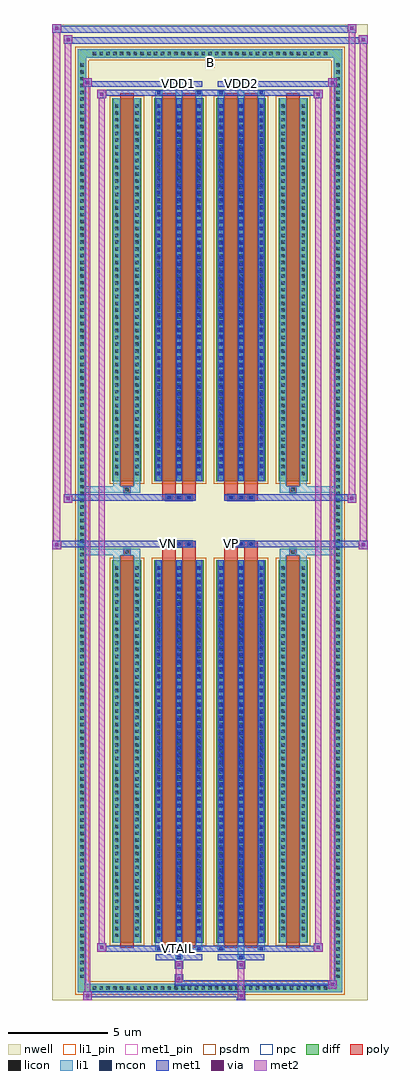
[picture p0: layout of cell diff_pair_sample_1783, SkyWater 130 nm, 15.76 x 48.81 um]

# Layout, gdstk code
import gdstk
lib = gdstk.Library(unit=1e-6, precision=5e-09)
def R(c, l, rs):  # rectangles x0, y0, x1, y1
    for r in rs: c.add(gdstk.rectangle(r[:2], r[2:], *l))
def A(c, l, x, y, w, h, nx, ny, dx, dy):  # array of equal rectangles
    R(c, l, [(x+i*dx, y+j*dy, x+i*dx+w, y+j*dy+h) for i in range(nx) for j in range(ny)])
def P(c, l, *ps):  # polygons
    for p in ps: c.add(gdstk.Polygon(p, *l))
nwell = (64, 20)
diff = (65, 20)
poly = (66, 20)
licon = (66, 44)
li1_pin = (67, 16)
li1 = (67, 20)
mcon = (67, 44)
met1_pin = (68, 16)
met1 = (68, 20)
via = (68, 44)
met2 = (69, 20)
psdm = (94, 20)
npc = (95, 20)

diff_pair_sample_1783 = lib.new_cell('diff_pair_sample_1783')
R(diff_pair_sample_1783, nwell, [(-7.88,-23.97,7.88,24.84), (-5.2,-22.16,-0.01,-0.8), (0.01,-22.16,5.2,-0.8), (-5.2,0.8,-0.01,22.16), (0.01,0.8,5.2,22.16)])
A(diff_pair_sample_1783, diff, -5.985, -23.57, 0.41, 0.41, 35, 2, 0.34, 46.73)
A(diff_pair_sample_1783, diff, -6.61, -22.985, 0.41, 0.41, 1, 135, 0, 0.34)
A(diff_pair_sample_1783, diff, 6.2, -22.985, 0.41, 0.41, 1, 135, 0, 0.34)
R(diff_pair_sample_1783, diff, [(-5.985,-23.57,5.985,-23.16), (-6.61,-22.985,-6.2,22.985), (6.2,-22.985,6.61,22.985), (-4.89,-21.115,-3.43,-1.985), (-2.79,-21.115,-0.32,-1.985), (0.32,-21.115,2.79,-1.985), (3.43,-21.115,4.89,-1.985), (-4.89,1.985,-3.43,21.115), (-2.79,1.985,-0.32,21.115), (0.32,1.985,2.79,21.115), (3.43,1.985,4.89,21.115), (-5.985,23.16,5.985,23.57)])
P(diff_pair_sample_1783, diff, [(6.61,23.57),(-6.61,23.57),(-6.61,-23.16),(-6.2,-23.16),(-6.2,23.16),(6.2,23.16),(6.2,-23.16),(-6.2,-23.16),(-6.61,-23.16),(-6.61,-23.57),(6.61,-23.57)])
A(diff_pair_sample_1783, poly, -2.22, -1.33, 0.33, 0.33, 3, 2, 0.5, 2.33)
A(diff_pair_sample_1783, poly, 0.89, -1.33, 0.33, 0.33, 3, 2, 0.5, 2.33)
R(diff_pair_sample_1783, poly, [(-4.5,-21.365,-3.82,-1.735), (-2.4,-21.365,-1.72,-1.735), (-1.39,-21.365,-0.71,-1.735), (0.71,-21.365,1.39,-1.735), (1.72,-21.365,2.4,-1.735), (3.82,-21.365,4.5,-1.735), (-4.325,-1.735,-3.995,-1.405), (-4.325,-1.735,-3.995,-1.405), (-2.4,-1.735,-1.72,-1.33), (-1.39,-1.735,-0.71,-1.33), (0.71,-1.735,1.39,-1.33), (1.72,-1.735,2.4,-1.33), (3.995,-1.735,4.325,-1.405), (3.995,-1.735,4.325,-1.405), (-2.4,-1.33,-0.71,-1), (0.71,-1.33,2.4,-1), (-2.4,1,-0.71,1.33), (0.71,1,2.4,1.33), (-2.4,1.33,-1.72,1.735), (-1.39,1.33,-0.71,1.735), (0.71,1.33,1.39,1.735), (1.72,1.33,2.4,1.735), (-4.325,1.405,-3.995,1.735), (-4.325,1.405,-3.995,1.735), (3.995,1.405,4.325,1.735), (3.995,1.405,4.325,1.735), (-4.5,1.735,-3.82,21.365), (-2.4,1.735,-1.72,21.365), (-1.39,1.735,-0.71,21.365), (0.71,1.735,1.39,21.365), (1.72,1.735,2.4,21.365), (3.82,1.735,4.5,21.365)])
A(diff_pair_sample_1783, licon, -5.865, -23.45, 0.17, 0.17, 35, 2, 0.34, 46.73)
A(diff_pair_sample_1783, licon, -6.49, -22.865, 0.17, 0.17, 1, 135, 0, 0.34)
A(diff_pair_sample_1783, licon, 6.32, -22.865, 0.17, 0.17, 1, 135, 0, 0.34)
A(diff_pair_sample_1783, licon, -4.75, -20.815, 0.17, 0.17, 1, 55, 0, 0.34)
A(diff_pair_sample_1783, licon, -3.74, -20.815, 0.17, 0.17, 1, 55, 0, 0.34)
A(diff_pair_sample_1783, licon, -2.65, -20.815, 0.17, 0.17, 3, 55, 1.01, 0.34)
A(diff_pair_sample_1783, licon, 0.46, -20.815, 0.17, 0.17, 3, 55, 1.01, 0.34)
A(diff_pair_sample_1783, licon, 3.57, -20.815, 0.17, 0.17, 1, 55, 0, 0.34)
A(diff_pair_sample_1783, licon, 4.58, -20.815, 0.17, 0.17, 1, 55, 0, 0.34)
A(diff_pair_sample_1783, licon, -2.14, -1.25, 0.17, 0.17, 3, 2, 0.5, 2.33)
A(diff_pair_sample_1783, licon, 0.97, -1.25, 0.17, 0.17, 3, 2, 0.5, 2.33)
A(diff_pair_sample_1783, licon, -4.75, 2.285, 0.17, 0.17, 1, 55, 0, 0.34)
A(diff_pair_sample_1783, licon, -3.74, 2.285, 0.17, 0.17, 1, 55, 0, 0.34)
A(diff_pair_sample_1783, licon, -2.65, 2.285, 0.17, 0.17, 3, 55, 1.01, 0.34)
A(diff_pair_sample_1783, licon, 0.46, 2.285, 0.17, 0.17, 3, 55, 1.01, 0.34)
A(diff_pair_sample_1783, licon, 3.57, 2.285, 0.17, 0.17, 1, 55, 0, 0.34)
A(diff_pair_sample_1783, licon, 4.58, 2.285, 0.17, 0.17, 1, 55, 0, 0.34)
R(diff_pair_sample_1783, licon, [(-4.245,-1.655,-4.075,-1.485), (4.075,-1.655,4.245,-1.485), (-4.245,1.485,-4.075,1.655), (4.075,1.485,4.245,1.655)])
R(diff_pair_sample_1783, li1_pin, [(-0.25,22.66,0.25,23.16)])
A(diff_pair_sample_1783, li1, -5.945, -23.53, 0.33, 0.33, 35, 2, 0.34, 46.73)
A(diff_pair_sample_1783, li1, -6.57, -22.945, 0.33, 0.33, 1, 135, 0, 0.34)
A(diff_pair_sample_1783, li1, 6.24, -22.945, 0.33, 0.33, 1, 135, 0, 0.34)
A(diff_pair_sample_1783, li1, -2.73, -21.115, 0.33, 19.13, 3, 2, 1.01, 23.1)
A(diff_pair_sample_1783, li1, 0.38, -21.115, 0.33, 19.13, 3, 2, 1.01, 23.1)
A(diff_pair_sample_1783, li1, -4.83, -20.895, 0.33, 0.33, 1, 55, 0, 0.34)
A(diff_pair_sample_1783, li1, -3.82, -20.895, 0.33, 0.33, 1, 55, 0, 0.34)
A(diff_pair_sample_1783, li1, -2.73, -20.895, 0.33, 0.33, 3, 55, 1.01, 0.34)
A(diff_pair_sample_1783, li1, 0.38, -20.895, 0.33, 0.33, 3, 55, 1.01, 0.34)
A(diff_pair_sample_1783, li1, 3.49, -20.895, 0.33, 0.33, 1, 55, 0, 0.34)
A(diff_pair_sample_1783, li1, 4.5, -20.895, 0.33, 0.33, 1, 55, 0, 0.34)
A(diff_pair_sample_1783, li1, -2.65, -20.815, 0.17, 0.17, 3, 52, 1.01, 0.36)
A(diff_pair_sample_1783, li1, -2.65, -20.815, 0.17, 18.53, 3, 2, 1.01, 23.1)
A(diff_pair_sample_1783, li1, 0.46, -20.815, 0.17, 0.17, 3, 52, 1.01, 0.36)
A(diff_pair_sample_1783, li1, 0.46, -20.815, 0.17, 18.53, 3, 2, 1.01, 23.1)
A(diff_pair_sample_1783, li1, -2.22, -1.33, 0.33, 0.33, 3, 2, 0.5, 2.33)
A(diff_pair_sample_1783, li1, 0.89, -1.33, 0.33, 0.33, 3, 2, 0.5, 2.33)
A(diff_pair_sample_1783, li1, -4.83, 2.205, 0.33, 0.33, 1, 55, 0, 0.34)
A(diff_pair_sample_1783, li1, -3.82, 2.205, 0.33, 0.33, 1, 55, 0, 0.34)
A(diff_pair_sample_1783, li1, -2.73, 2.205, 0.33, 0.33, 3, 55, 1.01, 0.34)
A(diff_pair_sample_1783, li1, 0.38, 2.205, 0.33, 0.33, 3, 55, 1.01, 0.34)
A(diff_pair_sample_1783, li1, 3.49, 2.205, 0.33, 0.33, 1, 55, 0, 0.34)
A(diff_pair_sample_1783, li1, 4.5, 2.205, 0.33, 0.33, 1, 55, 0, 0.34)
A(diff_pair_sample_1783, li1, -2.65, 2.285, 0.17, 0.17, 3, 52, 1.01, 0.36)
A(diff_pair_sample_1783, li1, 0.46, 2.285, 0.17, 0.17, 3, 52, 1.01, 0.36)
R(diff_pair_sample_1783, li1, [(-6.61,-23.57,-6.2,-23.16), (-6.61,-23.57,-6.2,-23.16), (-6.2,-23.57,6.2,-23.16), (6.2,-23.57,6.61,-23.16), (6.2,-23.57,6.61,-23.16), (-6.61,-23.16,-6.2,23.16), (6.2,-23.16,6.61,23.16), (-1.72,-21.92,-1.39,-21.115), (-1.64,-21.92,-1.47,-21.75), (1.39,-21.92,1.72,-21.115), (1.47,-21.92,1.64,-21.75), (-2.73,-21.49,-2.4,-21.115), (-2.65,-21.49,-2.48,-21.32), (-0.71,-21.49,-0.38,-21.115), (-0.63,-21.49,-0.46,-21.32), (0.38,-21.49,0.71,-21.115), (0.46,-21.49,0.63,-21.32), (2.4,-21.49,2.73,-21.115), (2.48,-21.49,2.65,-21.32), (-4.83,-21.115,-4.5,-1.985), (-3.82,-21.115,-3.49,-1.985), (3.49,-21.115,3.82,-1.985), (4.5,-21.115,4.83,-1.985), (-4.83,-1.985,-4.5,-1.405), (-3.82,-1.985,-3.49,-1.405), (3.49,-1.985,3.82,-1.405), (4.5,-1.985,4.83,-1.405), (-6.61,-1.735,-4.325,-1.405), (-4.83,-1.735,-4.325,-1.405), (-4.325,-1.735,-3.995,-1.405), (-3.995,-1.735,-3.49,-1.405), (3.49,-1.735,3.995,-1.405), (3.995,-1.735,4.325,-1.405), (3.995,-1.735,6.61,-1.405), (4.325,-1.735,4.83,-1.405), (-6.61,1.405,-4.325,1.735), (-4.83,1.405,-4.325,1.735), (-4.83,1.405,-4.5,1.985), (-4.325,1.405,-3.995,1.735), (-3.995,1.405,-3.49,1.735), (-3.82,1.405,-3.49,1.985), (3.49,1.405,3.995,1.735), (3.49,1.405,3.82,1.985), (3.995,1.405,4.325,1.735), (3.995,1.405,6.61,1.735), (4.325,1.405,4.83,1.735), (4.5,1.405,4.83,1.985), (-4.83,1.985,-4.5,21.115), (-3.82,1.985,-3.49,21.115), (3.49,1.985,3.82,21.115), (4.5,1.985,4.83,21.115), (-2.73,21.115,-2.4,21.49), (-1.72,21.115,-1.39,21.92), (-0.71,21.115,-0.38,21.49), (0.38,21.115,0.71,21.49), (1.39,21.115,1.72,21.92), (2.4,21.115,2.73,21.49), (-2.65,21.32,-2.48,21.49), (-0.63,21.32,-0.46,21.49), (0.46,21.32,0.63,21.49), (2.48,21.32,2.65,21.49), (-1.64,21.75,-1.47,21.92), (1.47,21.75,1.64,21.92), (-6.61,23.16,-6.2,23.57), (-6.61,23.16,-6.2,23.57), (-6.2,23.16,6.2,23.57), (6.2,23.16,6.61,23.57), (6.2,23.16,6.61,23.57)])
A(diff_pair_sample_1783, mcon, -2.65, -20.815, 0.17, 0.17, 3, 52, 1.01, 0.36)
A(diff_pair_sample_1783, mcon, 0.46, -20.815, 0.17, 0.17, 3, 52, 1.01, 0.36)
A(diff_pair_sample_1783, mcon, -2.14, -1.25, 0.17, 0.17, 3, 2, 0.5, 2.33)
A(diff_pair_sample_1783, mcon, 0.97, -1.25, 0.17, 0.17, 3, 2, 0.5, 2.33)
A(diff_pair_sample_1783, mcon, -2.65, 2.285, 0.17, 0.17, 3, 52, 1.01, 0.36)
A(diff_pair_sample_1783, mcon, 0.46, 2.285, 0.17, 0.17, 3, 52, 1.01, 0.36)
R(diff_pair_sample_1783, mcon, [(-1.64,-21.92,-1.47,-21.75), (1.47,-21.92,1.64,-21.75), (-2.65,-21.49,-2.48,-21.32), (-0.63,-21.49,-0.46,-21.32), (0.46,-21.49,0.63,-21.32), (2.48,-21.49,2.65,-21.32), (-2.65,21.32,-2.48,21.49), (-0.63,21.32,-0.46,21.49), (0.46,21.32,0.63,21.49), (2.48,21.32,2.65,21.49), (-1.64,21.75,-1.47,21.92), (1.47,21.75,1.64,21.92)])
R(diff_pair_sample_1783, met1_pin, [(-1.69,-21.53,-1.42,-21.26), (-2.19,-1.29,-1.92,-1.02), (0.92,-1.29,1.19,-1.02), (-1.69,21.71,-1.42,21.98), (1.42,21.71,1.69,21.98)])
A(diff_pair_sample_1783, met1, -2.71, -21.115, 0.29, 19.13, 3, 2, 1.01, 23.1)
A(diff_pair_sample_1783, met1, 0.4, -21.115, 0.29, 19.13, 3, 2, 1.01, 23.1)
A(diff_pair_sample_1783, met1, -2.71, -20.875, 0.29, 0.29, 3, 52, 1.01, 0.36)
A(diff_pair_sample_1783, met1, 0.4, -20.875, 0.29, 0.29, 3, 52, 1.01, 0.36)
A(diff_pair_sample_1783, met1, -2.2, -1.31, 0.29, 0.29, 3, 2, 0.5, 2.33)
A(diff_pair_sample_1783, met1, 0.91, -1.31, 0.29, 0.29, 3, 2, 0.5, 2.33)
A(diff_pair_sample_1783, met1, -2.71, 2.225, 0.29, 0.29, 3, 52, 1.01, 0.36)
A(diff_pair_sample_1783, met1, 0.4, 2.225, 0.29, 0.29, 3, 52, 1.01, 0.36)
R(diff_pair_sample_1783, met1, [(-6.34,-23.97,-5.91,-23.54), (1.34,-23.97,1.77,-23.54), (-6.34,-23.83,1.77,-23.54), (5.91,-23.4,6.34,-22.97), (-1.77,-23.26,6.34,-22.97), (-1.77,-23.12,-1.34,-22.69), (-1.77,-22.41,-1.34,-21.98), (1.34,-22.41,1.77,-21.98), (-2.71,-21.98,-0.4,-21.69), (-1.7,-21.98,-1.41,-21.69), (0.4,-21.98,2.71,-21.69), (1.41,-21.98,1.7,-21.69), (-5.63,-21.55,-5.2,-21.12), (-5.63,-21.55,-2.71,-21.26), (-2.71,-21.55,-2.42,-21.26), (-2.71,-21.55,-0.4,-21.26), (-0.69,-21.55,-0.4,-21.26), (-0.4,-21.55,0.4,-21.26), (0.4,-21.55,0.69,-21.26), (0.4,-21.55,2.71,-21.26), (2.42,-21.55,2.71,-21.26), (2.71,-21.55,5.63,-21.26), (5.2,-21.55,5.63,-21.12), (-7.88,-1.43,-7.45,-1), (7.45,-1.43,7.88,-1), (-7.88,-1.33,-0.71,-1), (-2.4,-1.33,-0.71,-1), (0.71,-1.33,2.4,-1), (0.71,-1.33,7.88,-1), (-7.31,0.9,-6.88,1.33), (6.88,0.9,7.31,1.33), (-7.31,1,-2.4,1.33), (-2.4,1,-0.71,1.33), (0.71,1,2.4,1.33), (2.4,1,7.31,1.33), (-5.63,21.12,-5.2,21.55), (5.2,21.12,5.63,21.55), (-5.63,21.26,-2.71,21.55), (-2.71,21.26,-2.42,21.55), (-2.71,21.26,-0.4,21.55), (-0.69,21.26,-0.4,21.55), (-0.4,21.26,0.4,21.55), (0.4,21.26,0.69,21.55), (0.4,21.26,2.71,21.55), (2.42,21.26,2.71,21.55), (2.71,21.26,5.63,21.55), (-6.34,21.69,-5.91,22.12), (-6.34,21.69,-2.71,21.98), (-2.71,21.69,-0.4,21.98), (-1.7,21.69,-1.41,21.98), (0.4,21.69,2.71,21.98), (1.41,21.69,1.7,21.98), (2.71,21.69,6.34,21.98), (5.91,21.69,6.34,22.12), (-7.31,23.84,-6.88,24.27), (-7.31,23.84,-5.2,24.17), (-5.2,23.84,5.2,24.17), (5.2,23.84,7.88,24.17), (7.45,23.84,7.88,24.27), (-7.88,24.41,-7.45,24.84), (-7.88,24.41,-5.2,24.74), (-5.2,24.41,5.2,24.74), (5.2,24.41,7.31,24.74), (6.88,24.41,7.31,24.84)])
R(diff_pair_sample_1783, via, [(-6.2,-23.83,-6.05,-23.68), (1.48,-23.83,1.63,-23.68), (6.05,-23.26,6.2,-23.11), (-1.63,-22.98,-1.48,-22.83), (-1.63,-22.27,-1.48,-22.12), (1.48,-22.27,1.63,-22.12), (-5.49,-21.41,-5.34,-21.26), (5.34,-21.41,5.49,-21.26), (-7.74,-1.29,-7.59,-1.14), (7.59,-1.29,7.74,-1.14), (-7.17,1.04,-7.02,1.19), (7.02,1.04,7.17,1.19), (-5.49,21.26,-5.34,21.41), (5.34,21.26,5.49,21.41), (-6.2,21.83,-6.05,21.98), (6.05,21.83,6.2,21.98), (-7.17,23.98,-7.02,24.13), (7.59,23.98,7.74,24.13), (-7.74,24.55,-7.59,24.7), (7.02,24.55,7.17,24.7)])
R(diff_pair_sample_1783, met2, [(-6.34,-23.97,-5.91,-23.54), (-6.27,-23.97,-5.98,22.12), (-5.98,-23.97,-5.91,-23.54), (-6.29,-23.92,-5.96,-23.59), (1.39,-23.92,1.72,-23.59), (1.39,-23.59,1.72,-22.36), (5.91,-23.4,6.34,-22.97), (5.98,-23.4,6.27,22.12), (6.27,-23.4,6.34,-22.97), (5.96,-23.35,6.29,-23.02), (-1.72,-23.07,-1.39,-22.74), (-1.72,-22.74,-1.39,-22.36), (-1.72,-22.36,-1.39,-22.03), (1.39,-22.36,1.72,-22.03), (-5.63,-21.55,-5.2,-21.12), (-5.56,-21.55,-5.27,21.55), (-5.27,-21.55,-5.2,-21.12), (5.2,-21.55,5.63,-21.12), (5.27,-21.55,5.56,21.55), (5.56,-21.55,5.63,-21.12), (-5.58,-21.5,-5.25,-21.17), (5.25,-21.5,5.58,-21.17), (-7.88,-1.43,-7.45,-1), (-7.83,-1.43,-7.5,24.84), (-7.5,-1.43,-7.45,-1), (7.45,-1.43,7.88,-1), (7.5,-1.43,7.83,24.27), (7.83,-1.43,7.88,-1), (-7.83,-1.38,-7.5,-1.05), (7.5,-1.38,7.83,-1.05), (-7.31,0.9,-6.88,1.33), (-7.26,0.9,-6.93,24.27), (-6.93,0.9,-6.88,1.33), (6.88,0.9,7.31,1.33), (6.93,0.9,7.26,24.84), (7.26,0.9,7.31,1.33), (-7.26,0.95,-6.93,1.28), (6.93,0.95,7.26,1.28), (-5.63,21.12,-5.2,21.55), (-5.27,21.12,-5.2,21.55), (5.2,21.12,5.63,21.55), (5.56,21.12,5.63,21.55), (-5.58,21.17,-5.25,21.5), (5.25,21.17,5.58,21.5), (-6.34,21.69,-5.91,22.12), (-5.98,21.69,-5.91,22.12), (5.91,21.69,6.34,22.12), (6.27,21.69,6.34,22.12), (-6.29,21.74,-5.96,22.07), (5.96,21.74,6.29,22.07), (-7.31,23.84,-6.88,24.27), (-6.93,23.84,-6.88,24.27), (7.45,23.84,7.88,24.27), (7.83,23.84,7.88,24.27), (-7.26,23.89,-6.93,24.22), (7.5,23.89,7.83,24.22), (-7.88,24.41,-7.45,24.84), (-7.5,24.41,-7.45,24.84), (6.88,24.41,7.31,24.84), (7.26,24.41,7.31,24.84), (-7.83,24.46,-7.5,24.79), (6.93,24.46,7.26,24.79)])
R(diff_pair_sample_1783, psdm, [(-5.02,-21.245,-3.3,-1.855), (-2.92,-21.245,-0.19,-1.855), (0.19,-21.245,2.92,-1.855), (3.3,-21.245,5.02,-1.855), (-5.02,1.855,-3.3,21.245), (-2.92,1.855,-0.19,21.245), (0.19,1.855,2.92,21.245), (3.3,1.855,5.02,21.245)])
P(diff_pair_sample_1783, psdm, [(6.74,23.7),(-6.74,23.7),(-6.74,-23.03),(-6.07,-23.03),(-6.07,23.03),(6.07,23.03),(6.07,-23.03),(-6.07,-23.03),(-6.74,-23.03),(-6.74,-23.7),(6.74,-23.7)])
A(diff_pair_sample_1783, npc, -2.24, -1.35, 0.37, 0.37, 3, 2, 0.5, 2.33)
A(diff_pair_sample_1783, npc, 0.87, -1.35, 0.37, 0.37, 3, 2, 0.5, 2.33)
R(diff_pair_sample_1783, npc, [(-4.345,-1.755,-3.975,-1.385), (3.975,-1.755,4.345,-1.385), (-2.24,-1.35,-1.37,-0.98), (-2.24,-1.35,-1.37,-0.98), (-1.74,-1.35,-0.87,-0.98), (-1.74,-1.35,-0.87,-0.98), (0.87,-1.35,1.74,-0.98), (0.87,-1.35,1.74,-0.98), (1.37,-1.35,2.24,-0.98), (1.37,-1.35,2.24,-0.98), (-2.24,0.98,-1.37,1.35), (-2.24,0.98,-1.37,1.35), (-1.74,0.98,-0.87,1.35), (-1.74,0.98,-0.87,1.35), (0.87,0.98,1.74,1.35), (0.87,0.98,1.74,1.35), (1.37,0.98,2.24,1.35), (1.37,0.98,2.24,1.35), (-4.345,1.385,-3.975,1.755), (3.975,1.385,4.345,1.755)])
diff_pair_sample_1783.add(gdstk.Label('VTAIL', (-1.555,-21.395), layer=68, texttype=5))
diff_pair_sample_1783.add(gdstk.Label('VN', (-2.055,-1.155), layer=68, texttype=5))
diff_pair_sample_1783.add(gdstk.Label('VP', (1.055,-1.155), layer=68, texttype=5))
diff_pair_sample_1783.add(gdstk.Label('B', (0,22.91), layer=67, texttype=5))
diff_pair_sample_1783.add(gdstk.Label('VDD2', (1.555,21.845), layer=68, texttype=5))
diff_pair_sample_1783.add(gdstk.Label('VDD1', (-1.555,21.845), layer=68, texttype=5))

lib.write_gds('diff_pair_sample_1783.gds')
